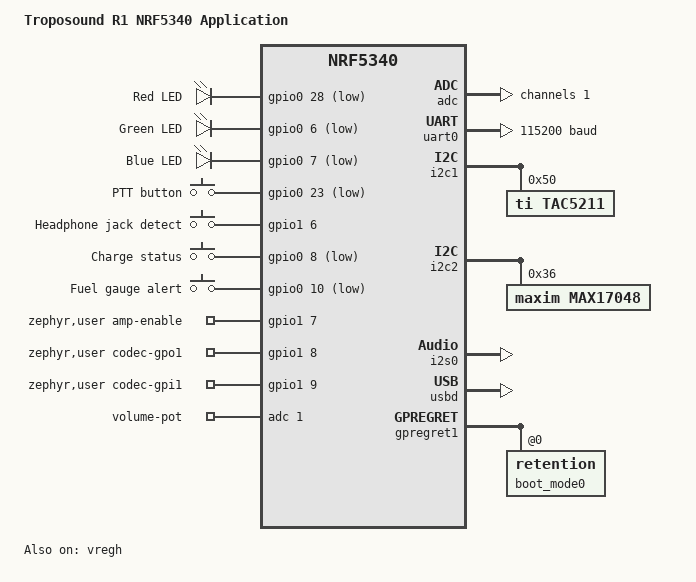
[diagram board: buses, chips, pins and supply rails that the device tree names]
/*
 * Copyright (c) 2026 Troposound
 *
 * SPDX-License-Identifier: Apache-2.0
 */

/dts-v1/;
#include <nordic/nrf5340_cpuapp_qkaa.dtsi>
#include <zephyr/dt-bindings/adc/adc.h>
#include <zephyr/dt-bindings/input/input-event-codes.h>
#include "r1_nrf5340_cpuapp-pinctrl.dtsi"

/ {
	model = "Troposound R1 NRF5340 Application";
	compatible = "troposound,r1-nrf5340-cpuapp";

	chosen {
		zephyr,console = &uart0;
		zephyr,shell-uart = &uart0;
		zephyr,uart-mcumgr = &uart0;
		zephyr,bt-mon-uart = &uart0;
		zephyr,bt-c2h-uart = &uart0;
		zephyr,bt-hci = &bt_hci_ipc0;
		zephyr,sram = &sram0_image;
		zephyr,flash = &flash0;
		zephyr,code-partition = &slot0_partition;
		zephyr,sram-secure-partition = &sram0_s;
		zephyr,sram-non-secure-partition = &sram0_ns;
		zephyr,boot-mode = &boot_mode0;
	};

	leds {
		compatible = "gpio-leds";

		red_led: led_0 {
			gpios = <&gpio0 28 GPIO_ACTIVE_LOW>;
			label = "Red LED";
		};

		green_led: led_1 {
			gpios = <&gpio0 6 GPIO_ACTIVE_LOW>;
			label = "Green LED";
		};

		blue_led: led_2 {
			gpios = <&gpio0 7 GPIO_ACTIVE_LOW>;
			label = "Blue LED";
		};
	};

	buttons {
		compatible = "gpio-keys";

		ptt_button: button_0 {
			gpios = <&gpio0 23 (GPIO_PULL_UP | GPIO_ACTIVE_LOW)>;
			label = "PTT button";
			zephyr,code = <INPUT_KEY_0>;
		};
	};

	gpio_inputs {
		compatible = "gpio-keys";

		jack_detect: jack_detect {
			gpios = <&gpio1 6 GPIO_ACTIVE_HIGH>;
			label = "Headphone jack detect";
			zephyr,code = <INPUT_KEY_1>;
		};

		charge_status: charge_status {
			gpios = <&gpio0 8 (GPIO_PULL_UP | GPIO_ACTIVE_LOW)>;
			label = "Charge status";
			zephyr,code = <INPUT_KEY_2>;
		};

		fuel_gauge_alert: fuel_gauge_alert {
			gpios = <&gpio0 10 (GPIO_PULL_UP | GPIO_ACTIVE_LOW)>;
			label = "Fuel gauge alert";
			zephyr,code = <INPUT_KEY_3>;
		};
	};

	gpio_fwd: nrf-gpio-forwarder {
		compatible = "nordic,nrf-gpio-forwarder";
		status = "okay";

		nrf21540-gpio-if {
			gpios = <&gpio0 30 0>,
				<&gpio0 31 0>,
				<&gpio0 29 0>,
				<&gpio0 4 0>;
		};
	};

	zephyr,user {
		io-channels = <&adc 1>;
		io-channel-names = "volume-pot";
		amp-enable-gpios = <&gpio1 7 GPIO_ACTIVE_HIGH>;
		codec-gpo1-gpios = <&gpio1 8 GPIO_ACTIVE_HIGH>;
		codec-gpi1-gpios = <&gpio1 9 GPIO_ACTIVE_HIGH>;
	};

	aliases {
		led0 = &red_led;
		led1 = &green_led;
		led2 = &blue_led;
		sw0 = &ptt_button;
		jack-detect = &jack_detect;
		charge-status = &charge_status;
		fuel-gauge-alert = &fuel_gauge_alert;
		fuel-gauge0 = &max17048;
		watchdog0 = &wdt0;
	};
};

&vregmain {
	regulator-initial-mode = <NRF5X_REG_MODE_DCDC>;
};

&vregradio {
	regulator-initial-mode = <NRF5X_REG_MODE_DCDC>;
};

&vregh {
	status = "okay";
};

&lfxo {
	load-capacitors = "internal";
	load-capacitance-picofarad = <9>;
};

&hfxo {
	load-capacitors = "internal";
	load-capacitance-femtofarad = <13500>;
};

&gpiote {
	status = "okay";
};

&gpio0 {
	status = "okay";
};

&gpio1 {
	status = "okay";
};

&adc {
	status = "okay";
	#address-cells = <1>;
	#size-cells = <0>;

	channel@1 {
		reg = <1>;
		zephyr,gain = "ADC_GAIN_1_4";
		zephyr,reference = "ADC_REF_VDD_1_4";
		zephyr,acquisition-time = <ADC_ACQ_TIME(ADC_ACQ_TIME_MICROSECONDS, 40)>;
		zephyr,input-positive = <NRF_SAADC_AIN1>;
		zephyr,resolution = <12>;
		zephyr,oversampling = <3>;
	};
};

&uart0 {
	status = "okay";
	current-speed = <115200>;
	pinctrl-0 = <&uart0_default>;
	pinctrl-1 = <&uart0_sleep>;
	pinctrl-names = "default", "sleep";
};

&i2c1 {
	compatible = "nordic,nrf-twim";
	status = "okay";
	pinctrl-0 = <&i2c1_default>;
	pinctrl-1 = <&i2c1_sleep>;
	pinctrl-names = "default", "sleep";

	tac5211: audio-codec@50 {
		compatible = "ti,tac5211";
		reg = <0x50>;
	};
};

&i2c2 {
	compatible = "nordic,nrf-twim";
	status = "okay";
	pinctrl-0 = <&i2c2_default>;
	pinctrl-1 = <&i2c2_sleep>;
	pinctrl-names = "default", "sleep";

	max17048: max17048@36 {
		compatible = "maxim,max17048";
		reg = <0x36>;
	};
};

&i2s0 {
	status = "okay";
	pinctrl-0 = <&i2s0_default>;
	pinctrl-1 = <&i2s0_sleep>;
	pinctrl-names = "default", "sleep";
};

zephyr_udc0: &usbd {
	status = "okay";
};

&gpregret1 {
	status = "okay";

	boot_mode0: boot_mode@0 {
		compatible = "zephyr,retention";
		status = "okay";
		reg = <0x0 0x1>;
	};
};

#include <nordic/nrf5340_cpuapp_partition.dtsi>
